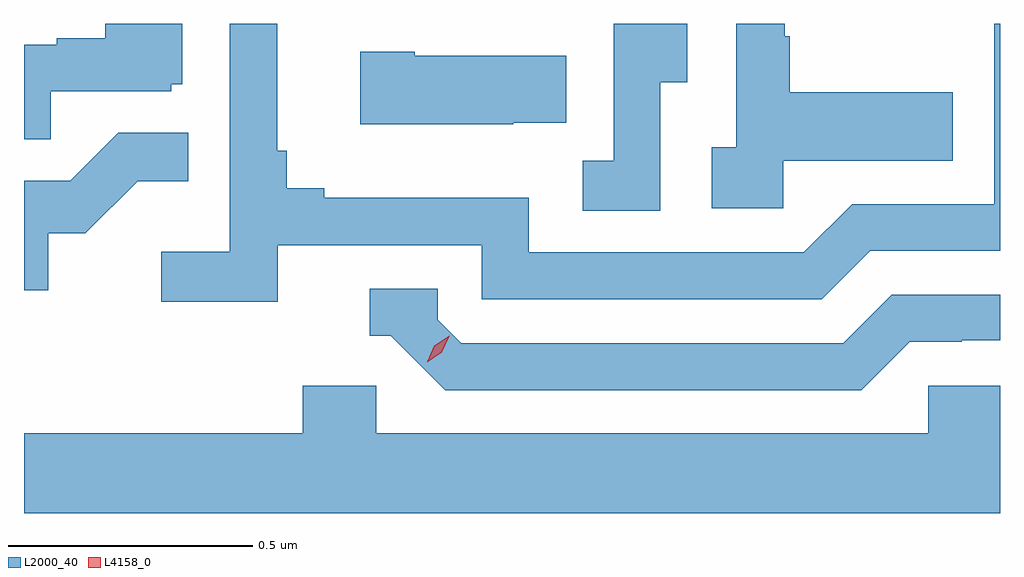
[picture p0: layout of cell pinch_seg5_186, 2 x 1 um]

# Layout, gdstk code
import gdstk
lib = gdstk.Library(unit=1e-6, precision=1e-09)
def P(c, l, *ps):  # polygons
    for p in ps: c.add(gdstk.Polygon(p, *l))
L2000_40 = (2000, 40)
L4158_0 = (4158, 0)

pinch_seg5_186 = lib.new_cell('pinch_seg5_186')
P(pinch_seg5_186, L2000_40, [(1118.892,874.799),(1119.239,874.799),(1119.239,874.939),(1118.905,874.939),(1118.905,875.054),(1118.895,875.054),(1118.895,875.08),(1118.796,875.08),(1118.796,874.826),(1118.745,874.826),(1118.745,874.701),(1118.892,874.701)],
  [(1117.391,874.941),(1117.638,874.941),(1117.638,874.956),(1117.66,874.956),(1117.66,875.08),(1117.502,875.08),(1117.502,875.05),(1117.403,875.05),(1117.403,875.037),(1117.336,875.037),(1117.336,874.843),(1117.391,874.843)],
  [(1118.64,874.96),(1118.695,874.96),(1118.695,875.08),(1118.544,875.08),(1118.544,874.799),(1118.481,874.799),(1118.481,874.696),(1118.64,874.696)],
  [(1117.856,874.626),(1118.274,874.626),(1118.274,874.515),(1118.971,874.515),(1119.07,874.614),(1119.336,874.614),(1119.336,875.08),(1119.324,875.08),(1119.324,874.71),(1119.033,874.71),(1118.934,874.611),(1118.37,874.611),(1118.37,874.723),(1117.951,874.723),(1117.951,874.742),(1117.874,874.742),(1117.874,874.819),(1117.855,874.819),(1117.855,875.08),(1117.758,875.08),(1117.758,874.612),(1117.617,874.612),(1117.617,874.51),(1117.856,874.51)],
  [(1118.339,874.877),(1118.447,874.877),(1118.447,875.014),(1118.137,875.014),(1118.137,875.022),(1118.025,875.022),(1118.025,874.874),(1118.339,874.874)],
  [(1117.386,874.65),(1117.462,874.65),(1117.569,874.757),(1117.673,874.757),(1117.673,874.856),(1117.529,874.856),(1117.431,874.758),(1117.336,874.758),(1117.336,874.533),(1117.386,874.533)],
  [(1119.151,874.428),(1119.258,874.428),(1119.258,874.431),(1119.336,874.431),(1119.336,874.524),(1119.114,874.524),(1119.015,874.425),(1118.232,874.425),(1118.184,874.473),(1118.184,874.536),(1118.045,874.536),(1118.045,874.44),(1118.088,874.44),(1118.199,874.329),(1119.052,874.329)],
  [(1119.336,874.338),(1119.189,874.338),(1119.189,874.24),(1118.058,874.24),(1118.058,874.338),(1117.907,874.338),(1117.907,874.24),(1117.336,874.24),(1117.336,874.076),(1119.336,874.076)])
P(pinch_seg5_186, L4158_0, [(1118.162,874.386),(1118.162,874.387),(1118.177,874.42),(1118.207,874.44),(1118.207,874.44),(1118.207,874.439),(1118.192,874.406),(1118.162,874.386)])

lib.write_gds('pinch_seg5_186.gds')
